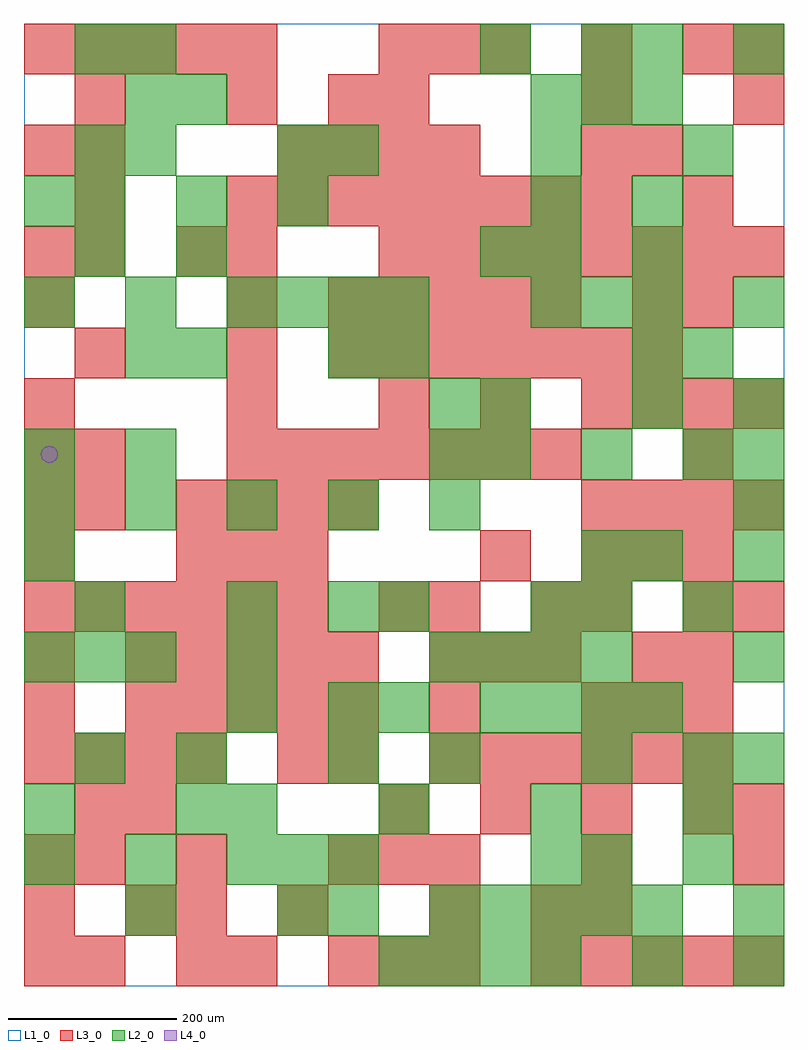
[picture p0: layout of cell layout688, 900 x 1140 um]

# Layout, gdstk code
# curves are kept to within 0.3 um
import gdstk
lib = gdstk.Library(unit=1e-6, precision=1e-09)
def R(c, l, rs):  # rectangles x0, y0, x1, y1
    for r in rs: c.add(gdstk.rectangle(r[:2], r[2:], *l))
def A(c, l, x, y, w, h, nx, ny, dx, dy):  # array of equal rectangles
    R(c, l, [(x+i*dx, y+j*dy, x+i*dx+w, y+j*dy+h) for i in range(nx) for j in range(ny)])
def P(c, l, *ps):  # polygons
    for p in ps: c.add(gdstk.Polygon(p, *l))
L1_0 = (1, 0)
L2_0 = (2, 0)
L3_0 = (3, 0)
L4_0 = (4, 0)

layout688 = lib.new_cell('layout688')
R(layout688, L1_0, [(0,0,900,1140)])
A(layout688, L2_0, 420, 0, 60, 60, 4, 1, 60, 0)
A(layout688, L2_0, 480, 60, 60, 60, 5, 1, 60, 0)
A(layout688, L2_0, 0, 120, 60, 60, 3, 2, 120, 660)
A(layout688, L2_0, 240, 180, 60, 60, 4, 1, 180, 0)
A(layout688, L2_0, 840, 240, 60, 60, 1, 3, 0, 120)
A(layout688, L2_0, 240, 300, 60, 60, 1, 3, 0, 60)
A(layout688, L2_0, 540, 300, 60, 60, 4, 1, 60, 0)
A(layout688, L2_0, 0, 360, 60, 60, 3, 1, 60, 0)
A(layout688, L2_0, 480, 360, 60, 60, 4, 1, 60, 0)
A(layout688, L2_0, 0, 540, 60, 60, 5, 1, 120, 0)
A(layout688, L2_0, 840, 540, 60, 60, 1, 3, 0, 60)
A(layout688, L2_0, 540, 600, 60, 60, 3, 1, 120, 0)
A(layout688, L2_0, 300, 780, 60, 60, 3, 1, 60, 0)
A(layout688, L2_0, 600, 780, 60, 60, 3, 2, 60, 240)
A(layout688, L2_0, 60, 840, 60, 60, 1, 3, 0, 120)
A(layout688, L2_0, 600, 840, 60, 60, 1, 3, 0, 60)
A(layout688, L2_0, 60, 900, 60, 60, 3, 1, 120, 0)
A(layout688, L2_0, 120, 960, 60, 60, 1, 3, 0, 60)
R(layout688, L2_0, [(720,0,780,60), (840,0,900,60), (120,60,180,120), (300,60,360,120), (360,60,420,120), (840,60,900,120), (300,120,360,180), (360,120,420,180), (600,120,660,180), (660,120,720,180), (780,120,840,180), (0,180,60,240), (180,180,240,240), (60,240,120,300), (180,240,240,300), (360,240,420,300), (480,240,540,300), (660,240,720,300), (780,240,840,300), (360,300,420,360), (420,300,480,360), (60,420,120,480), (360,420,420,480), (420,420,480,480), (600,420,660,480), (660,420,720,480), (780,420,840,480), (0,480,60,540), (660,480,720,540), (720,480,780,540), (0,600,60,660), (120,600,180,660), (480,600,540,660), (480,660,540,720), (540,660,600,720), (720,660,780,720), (120,720,180,780), (180,720,240,780), (360,720,420,780), (420,720,480,780), (720,720,780,780), (780,720,840,780), (840,780,900,840), (180,840,240,900), (540,840,600,900), (720,840,780,900), (0,900,60,960), (720,900,780,960), (300,960,360,1020), (360,960,420,1020), (780,960,840,1020), (180,1020,240,1080), (540,1080,600,1140), (660,1080,720,1140), (720,1080,780,1140), (840,1080,900,1140)])
A(layout688, L3_0, 0, 0, 60, 60, 1, 3, 0, 60)
A(layout688, L3_0, 180, 0, 60, 60, 1, 3, 0, 60)
A(layout688, L3_0, 360, 0, 60, 60, 3, 2, 60, 120)
A(layout688, L3_0, 600, 0, 60, 60, 5, 1, 60, 0)
A(layout688, L3_0, 420, 180, 60, 60, 4, 1, 120, 0)
A(layout688, L3_0, 0, 240, 60, 60, 4, 1, 60, 0)
A(layout688, L3_0, 480, 240, 60, 60, 6, 1, 60, 0)
A(layout688, L3_0, 120, 300, 60, 60, 5, 2, 60, 60)
A(layout688, L3_0, 660, 300, 60, 60, 3, 2, 60, 180)
A(layout688, L3_0, 480, 360, 60, 60, 3, 1, 60, 0)
A(layout688, L3_0, 0, 420, 60, 60, 6, 1, 60, 0)
A(layout688, L3_0, 780, 420, 60, 60, 1, 3, 0, 180)
A(layout688, L3_0, 0, 480, 60, 60, 1, 4, 0, 60)
A(layout688, L3_0, 180, 480, 60, 60, 3, 1, 60, 0)
A(layout688, L3_0, 180, 540, 60, 60, 4, 1, 60, 0)
A(layout688, L3_0, 660, 540, 60, 60, 4, 1, 60, 0)
A(layout688, L3_0, 60, 600, 60, 60, 1, 3, 0, 120)
A(layout688, L3_0, 240, 600, 60, 60, 7, 1, 60, 0)
A(layout688, L3_0, 240, 660, 60, 60, 1, 4, 0, 60)
A(layout688, L3_0, 420, 660, 60, 60, 3, 1, 120, 0)
A(layout688, L3_0, 720, 660, 60, 60, 3, 1, 60, 0)
A(layout688, L3_0, 360, 720, 60, 60, 7, 1, 60, 0)
A(layout688, L3_0, 360, 780, 60, 60, 5, 1, 60, 0)
A(layout688, L3_0, 420, 840, 60, 60, 8, 1, 60, 0)
A(layout688, L3_0, 60, 900, 60, 60, 1, 3, 0, 60)
A(layout688, L3_0, 240, 900, 60, 60, 8, 1, 60, 0)
A(layout688, L3_0, 300, 960, 60, 60, 4, 1, 60, 0)
A(layout688, L3_0, 660, 960, 60, 60, 1, 3, 0, 60)
A(layout688, L3_0, 0, 1080, 60, 60, 5, 1, 60, 0)
A(layout688, L3_0, 420, 1080, 60, 60, 3, 1, 60, 0)
R(layout688, L3_0, [(60,0,120,60), (240,0,300,60), (120,60,180,120), (300,60,360,120), (480,60,540,120), (600,60,660,120), (660,60,720,120), (60,120,120,180), (660,120,720,180), (840,120,900,180), (60,180,120,240), (120,180,180,240), (840,180,900,240), (300,240,360,300), (360,240,420,300), (0,300,60,360), (480,300,540,360), (0,360,60,420), (720,360,780,420), (780,360,840,420), (420,420,480,480), (480,420,540,480), (600,420,660,480), (660,420,720,480), (840,420,900,480), (540,480,600,540), (60,540,120,600), (0,780,60,840), (720,780,780,840), (0,840,60,900), (180,840,240,900), (780,900,840,960), (0,960,60,1020), (720,960,780,1020), (240,1020,300,1080), (360,1020,420,1080), (420,1020,480,1080), (840,1020,900,1080), (780,1080,840,1140), (840,1080,900,1140)])
P(layout688, L4_0, [(40,630),(39.239,633.827),(37.071,637.071),(33.827,639.239),(30,640),(26.173,639.239),(22.929,637.071),(20.761,633.827),(20,630),(20.761,626.173),(22.929,622.929),(26.173,620.761),(30,620),(33.827,620.761),(37.071,622.929),(39.239,626.173)])

lib.write_gds('layout688.gds')
